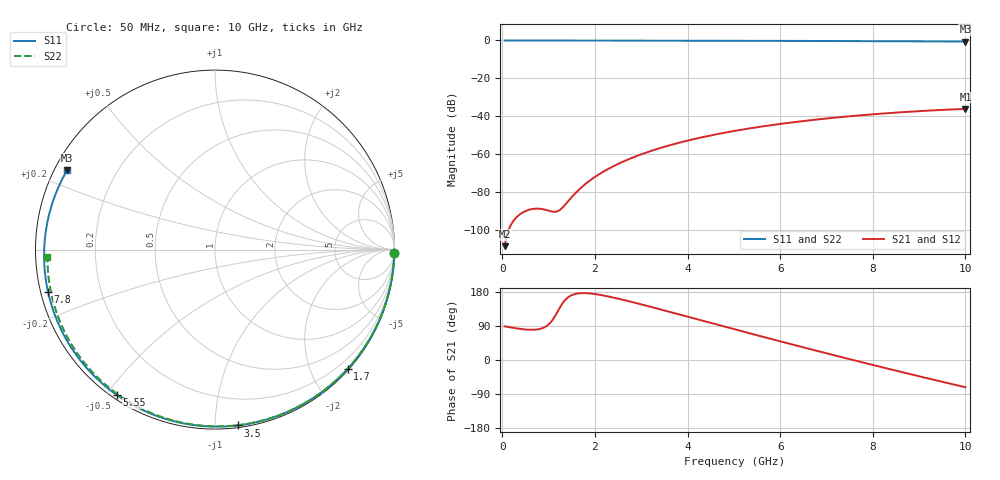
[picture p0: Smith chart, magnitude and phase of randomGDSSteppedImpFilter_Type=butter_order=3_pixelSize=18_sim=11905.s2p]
! freq	dB(S11)	phase(S11)	dB(S12)	phase(S12)
!  dB(S21)	phase(S21)	dB(S22)	phase(S22)
!S-par simulation data
#  GHz  S  DB  R 50
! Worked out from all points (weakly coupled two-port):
!   200 points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, 50 MHz to 10 GHz, reference 50 ohm
!   highest |S21| = -36.03 dB at 10 GHz (marker M1); lowest = -108.3 dB at 50 MHz (marker M2)
!   lowest |S11| = -0.6 dB at 10 GHz (marker M3), VSWR 29.91, Z = 1.78 + j12.5 ohm
!   |S11| at or under -10 dB: nowhere
!   |S22| runs from -0.6 to 0.0 dB; largest |S21 - S12| = 0
!   S11 on the Smith chart (normalised r, x): 50 MHz: 2, -94; 1.7 GHz: 0.02, -2.61; 3.5 GHz: 0.01, -1.14; 5.55 GHz: 0.01, -0.53; 7.8 GHz: 0.02, -0.12; 10 GHz: 0.04, +0.25
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0.05  -0.00 -1.2  -108.30 88.9  -108.30 88.9  -0.00 -1.0
0.75  -0.02 -18.8  -88.54 80.6  -88.54 80.6  -0.02 -14.9
1.15  -0.04 -28.6  -90.19 118.1  -90.19 118.1  -0.03 -22.7
1.55  -0.05 -38.3  -81.14 173.5  -81.14 173.5  -0.04 -30.5
1.6  -0.05 -39.5  -79.88 175.0  -79.88 175.0  -0.04 -31.4
1.7  -0.05 -41.9  -77.55 176.5  -77.55 176.5  -0.04 -33.4
1.75  -0.05 -43.1  -76.48 176.6  -76.48 176.6  -0.04 -34.3
2.05  -0.06 -50.2  -71.06 173.1  -71.06 173.1  -0.05 -40.0
2.45  -0.08 -59.5  -65.59 163.4  -65.59 163.4  -0.06 -47.6
2.9  -0.09 -69.6  -60.86 150.0  -60.86 150.0  -0.07 -55.9
3.4  -0.10 -80.6  -56.71 134.0  -56.71 134.0  -0.09 -65.1
3.5  -0.11 -82.7  -55.98 130.8  -55.98 130.8  -0.09 -66.9
4.25  -0.13 -98.4  -51.31 106.1  -51.31 106.1  -0.11 -80.2
5.05  -0.17 -114.3  -47.48 79.9  -47.48 79.9  -0.15 -93.9
5.55  -0.20 -124.0  -45.51 63.7  -45.51 63.7  -0.17 -102.3
6.15  -0.23 -135.3  -43.48 44.5  -43.48 44.5  -0.20 -112.3
6.7  -0.27 -145.5  -41.87 27.1  -41.87 27.1  -0.24 -121.3
7.25  -0.31 -155.7  -40.48 9.9  -40.48 9.9  -0.28 -130.4
7.8  -0.36 -165.8  -39.28 -7.0  -39.28 -7.0  -0.33 -139.4
8.35  -0.41 -176.1  -38.24 -23.6  -38.24 -23.6  -0.38 -148.5
9.2  -0.50 167.7  -36.94 -48.8  -36.94 -48.8  -0.48 -163.1
10  -0.58 151.8  -36.03 -71.8  -36.03 -71.8  -0.59 -177.5
